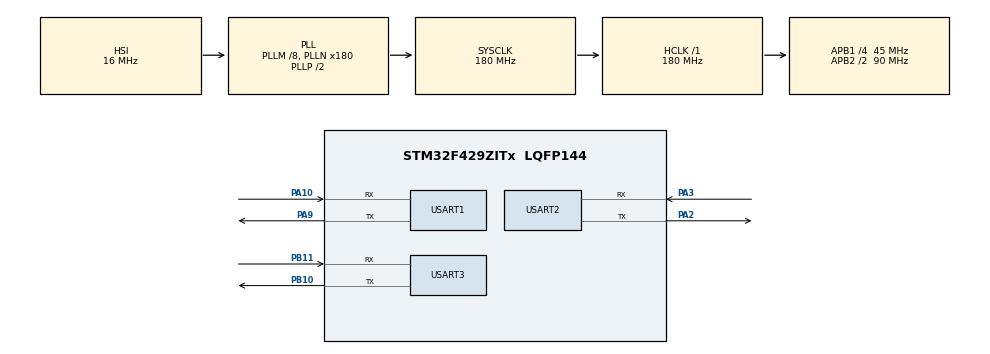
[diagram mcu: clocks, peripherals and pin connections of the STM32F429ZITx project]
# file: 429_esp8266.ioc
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Dma.Request0=USART2_RX
Dma.Request1=USART2_TX
Dma.Request2=USART3_RX
Dma.USART2_RX.0.Direction=DMA_PERIPH_TO_MEMORY
Dma.USART2_RX.0.FIFOMode=DMA_FIFOMODE_DISABLE
Dma.USART2_RX.0.Instance=DMA1_Stream5
Dma.USART2_RX.0.MemDataAlignment=DMA_MDATAALIGN_BYTE
Dma.USART2_RX.0.MemInc=DMA_MINC_ENABLE
Dma.USART2_RX.0.Mode=DMA_NORMAL
Dma.USART2_RX.0.PeriphDataAlignment=DMA_PDATAALIGN_BYTE
Dma.USART2_RX.0.PeriphInc=DMA_PINC_DISABLE
Dma.USART2_RX.0.Priority=DMA_PRIORITY_LOW
Dma.USART2_TX.1.Direction=DMA_MEMORY_TO_PERIPH
Dma.USART2_TX.1.FIFOMode=DMA_FIFOMODE_DISABLE
Dma.USART2_TX.1.Instance=DMA1_Stream6
Dma.USART2_TX.1.MemDataAlignment=DMA_MDATAALIGN_BYTE
Dma.USART2_TX.1.MemInc=DMA_MINC_ENABLE
Dma.USART2_TX.1.Mode=DMA_NORMAL
Dma.USART2_TX.1.PeriphDataAlignment=DMA_PDATAALIGN_BYTE
Dma.USART2_TX.1.PeriphInc=DMA_PINC_DISABLE
Dma.USART2_TX.1.Priority=DMA_PRIORITY_LOW
Dma.USART3_RX.2.Direction=DMA_PERIPH_TO_MEMORY
Dma.USART3_RX.2.FIFOMode=DMA_FIFOMODE_DISABLE
Dma.USART3_RX.2.Instance=DMA1_Stream1
Dma.USART3_RX.2.MemDataAlignment=DMA_MDATAALIGN_BYTE
Dma.USART3_RX.2.MemInc=DMA_MINC_ENABLE
Dma.USART3_RX.2.Mode=DMA_CIRCULAR
Dma.USART3_RX.2.PeriphDataAlignment=DMA_PDATAALIGN_BYTE
Dma.USART3_RX.2.PeriphInc=DMA_PINC_DISABLE
Dma.USART3_RX.2.Priority=DMA_PRIORITY_LOW
Mcu.Family=STM32F4
Mcu.Name=STM32F429ZITx
Mcu.Package=LQFP144
NVIC.DMA1_Stream1_IRQn=true\:0\:0\:false\:false\:true\:false\:true\:true
NVIC.DMA1_Stream5_IRQn=true\:0\:0\:false\:false\:true\:false\:true\:true
NVIC.DMA1_Stream6_IRQn=true\:0\:0\:false\:false\:true\:false\:true\:true
NVIC.PriorityGroup=NVIC_PRIORITYGROUP_0
NVIC.USART1_IRQn=true\:0\:0\:false\:false\:true\:true\:true\:true
NVIC.USART2_IRQn=true\:0\:0\:false\:false\:true\:true\:true\:true
NVIC.USART3_IRQn=true\:0\:0\:false\:false\:true\:true\:true\:true
PA10.Mode=Asynchronous
PA10.Signal=USART1_RX
PA2.Mode=Asynchronous
PA2.Signal=USART2_TX
PA3.Mode=Asynchronous
PA3.Signal=USART2_RX
PA9.Mode=Asynchronous
PA9.Signal=USART1_TX
PB10.Mode=Asynchronous
PB10.Signal=USART3_TX
PB11.Mode=Asynchronous
PB11.Signal=USART3_RX
PH0/OSC_IN.Mode=HSE-External-Oscillator
PH0/OSC_IN.Signal=RCC_OSC_IN
PH1/OSC_OUT.Mode=HSE-External-Oscillator
PH1/OSC_OUT.Signal=RCC_OSC_OUT
ProjectManager.HeapSize=0x200
ProjectManager.StackSize=0x400
ProjectManager.TargetToolchain=STM32CubeIDE
RCC.48MHZClocksFreq_Value=51428571.428571425
RCC.AHBFreq_Value=180000000
RCC.APB1CLKDivider=RCC_HCLK_DIV4
RCC.APB1Freq_Value=45000000
RCC.APB1TimFreq_Value=90000000
RCC.APB2CLKDivider=RCC_HCLK_DIV2
RCC.APB2Freq_Value=90000000
RCC.APB2TimFreq_Value=180000000
RCC.CortexFreq_Value=180000000
RCC.HCLKFreq_Value=180000000
RCC.HSE_VALUE=8000000
RCC.HSI_VALUE=16000000
RCC.LSE_VALUE=32768
RCC.PLLM=8
RCC.PLLN=180
RCC.PLLQ=7
RCC.SYSCLKFreq_VALUE=180000000
RCC.SYSCLKSource=RCC_SYSCLKSOURCE_PLLCLK
RCC.VCOOutputFreq_Value=360000000
USART1.VirtualMode=VM_ASYNC
USART2.VirtualMode=VM_ASYNC
USART3.VirtualMode=VM_ASYNC
board=STM32F429I-DISC1

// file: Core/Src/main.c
/* USER CODE BEGIN Header */
/**
 ******************************************************************************
 * @file           : main.c
 * @brief          : Main program body
 ******************************************************************************
 * @attention
 *
 * Copyright (c) 2025 STMicroelectronics.
 * All rights reserved.
 *
 * This software is licensed under terms that can be found in the LICENSE file
 * in the root directory of this software component.
 * If no LICENSE file comes with this software, it is provided AS-IS.
 *
 ******************************************************************************
 */
/* USER CODE END Header */
#include "main.h"

UART_HandleTypeDef huart1;
UART_HandleTypeDef huart2;
UART_HandleTypeDef huart3;
DMA_HandleTypeDef hdma_usart2_rx;
DMA_HandleTypeDef hdma_usart2_tx;
DMA_HandleTypeDef hdma_usart3_rx;

/* USER CODE BEGIN PV */
uint8_t uart2_tx_buffer[] = "AT+RST\r\n";
uint8_t uart2_rx_buffer[512];
/* USER CODE END PV */

void SystemClock_Config(void);
static void MX_GPIO_Init(void);
static void MX_DMA_Init(void);
static void MX_USART1_UART_Init(void);
static void MX_USART2_UART_Init(void);
static void MX_USART3_UART_Init(void);

/* USER CODE BEGIN 0 */
int _write(int fd, char *ptr, int len) {
	HAL_StatusTypeDef hstatus;

	if (fd == 1 || fd == 2) {
		hstatus = HAL_UART_Transmit(&huart1, (uint8_t*) ptr, len,
		HAL_MAX_DELAY);
		if (hstatus == HAL_OK)
			return len;
		else
			return -1;
	}
	return -1;
}
/* USER CODE END 0 */

int main(void)
{

  /* MCU Configuration--------------------------------------------------------*/

  /* Reset of all peripherals, Initializes the Flash interface and the Systick. */
  HAL_Init();

  /* Configure the system clock */
  SystemClock_Config();

  /* Initialize all configured peripherals */
  MX_GPIO_Init();
  MX_DMA_Init();
  MX_USART1_UART_Init();
  MX_USART2_UART_Init();
  MX_USART3_UART_Init();
  /* USER CODE BEGIN 2 */
	HAL_UART_Receive_IT(&huart3, uart2_rx_buffer, 1);
	HAL_UART_Transmit(&huart3, uart2_tx_buffer, sizeof(uart2_tx_buffer), 5000);

  /* USER CODE END 2 */

  /* Infinite loop */
	while (1) {

	}
}

void SystemClock_Config(void)
{
  RCC_OscInitTypeDef RCC_OscInitStruct = {0};
  RCC_ClkInitTypeDef RCC_ClkInitStruct = {0};

  /** Configure the main internal regulator output voltage
  */
  __HAL_RCC_PWR_CLK_ENABLE();
  __HAL_PWR_VOLTAGESCALING_CONFIG(PWR_REGULATOR_VOLTAGE_SCALE1);

  /** Initializes the RCC Oscillators according to the specified parameters
  * in the RCC_OscInitTypeDef structure.
  */
  RCC_OscInitStruct.OscillatorType = RCC_OSCILLATORTYPE_HSI;
  RCC_OscInitStruct.HSIState = RCC_HSI_ON;
  RCC_OscInitStruct.HSICalibrationValue = RCC_HSICALIBRATION_DEFAULT;
  RCC_OscInitStruct.PLL.PLLState = RCC_PLL_ON;
  RCC_OscInitStruct.PLL.PLLSource = RCC_PLLSOURCE_HSI;
  RCC_OscInitStruct.PLL.PLLM = 8;
  RCC_OscInitStruct.PLL.PLLN = 180;
  RCC_OscInitStruct.PLL.PLLP = RCC_PLLP_DIV2;
  RCC_OscInitStruct.PLL.PLLQ = 7;
  if (HAL_RCC_OscConfig(&RCC_OscInitStruct) != HAL_OK)
  {
    Error_Handler();
  }

  /** Activate the Over-Drive mode
  */
  if (HAL_PWREx_EnableOverDrive() != HAL_OK)
  {
    Error_Handler();
  }

  /** Initializes the CPU, AHB and APB buses clocks
  */
  RCC_ClkInitStruct.ClockType = RCC_CLOCKTYPE_HCLK|RCC_CLOCKTYPE_SYSCLK
                              |RCC_CLOCKTYPE_PCLK1|RCC_CLOCKTYPE_PCLK2;
  RCC_ClkInitStruct.SYSCLKSource = RCC_SYSCLKSOURCE_PLLCLK;
  RCC_ClkInitStruct.AHBCLKDivider = RCC_SYSCLK_DIV1;
  RCC_ClkInitStruct.APB1CLKDivider = RCC_HCLK_DIV4;
  RCC_ClkInitStruct.APB2CLKDivider = RCC_HCLK_DIV2;

  if (HAL_RCC_ClockConfig(&RCC_ClkInitStruct, FLASH_LATENCY_5) != HAL_OK)
  {
    Error_Handler();
  }
}

static void MX_USART1_UART_Init(void)
{

  huart1.Instance = USART1;
  huart1.Init.BaudRate = 115200;
  huart1.Init.WordLength = UART_WORDLENGTH_8B;
  huart1.Init.StopBits = UART_STOPBITS_1;
  huart1.Init.Parity = UART_PARITY_NONE;
  huart1.Init.Mode = UART_MODE_TX_RX;
  huart1.Init.HwFlowCtl = UART_HWCONTROL_NONE;
  huart1.Init.OverSampling = UART_OVERSAMPLING_16;
  if (HAL_UART_Init(&huart1) != HAL_OK)
  {
    Error_Handler();
  }

}

static void MX_USART2_UART_Init(void)
{

  huart2.Instance = USART2;
  huart2.Init.BaudRate = 115200;
  huart2.Init.WordLength = UART_WORDLENGTH_8B;
  huart2.Init.StopBits = UART_STOPBITS_1;
  huart2.Init.Parity = UART_PARITY_NONE;
  huart2.Init.Mode = UART_MODE_TX_RX;
  huart2.Init.HwFlowCtl = UART_HWCONTROL_NONE;
  huart2.Init.OverSampling = UART_OVERSAMPLING_16;
  if (HAL_UART_Init(&huart2) != HAL_OK)
  {
    Error_Handler();
  }

}

static void MX_USART3_UART_Init(void)
{

  huart3.Instance = USART3;
  huart3.Init.BaudRate = 115200;
  huart3.Init.WordLength = UART_WORDLENGTH_8B;
  huart3.Init.StopBits = UART_STOPBITS_1;
  huart3.Init.Parity = UART_PARITY_NONE;
  huart3.Init.Mode = UART_MODE_TX_RX;
  huart3.Init.HwFlowCtl = UART_HWCONTROL_NONE;
  huart3.Init.OverSampling = UART_OVERSAMPLING_16;
  if (HAL_UART_Init(&huart3) != HAL_OK)
  {
    Error_Handler();
  }

}

static void MX_DMA_Init(void)
{

  /* DMA controller clock enable */
  __HAL_RCC_DMA1_CLK_ENABLE();

  /* DMA interrupt init */
  /* DMA1_Stream1_IRQn interrupt configuration */
  HAL_NVIC_SetPriority(DMA1_Stream1_IRQn, 0, 0);
  HAL_NVIC_EnableIRQ(DMA1_Stream1_IRQn);
  /* DMA1_Stream5_IRQn interrupt configuration */
  HAL_NVIC_SetPriority(DMA1_Stream5_IRQn, 0, 0);
  HAL_NVIC_EnableIRQ(DMA1_Stream5_IRQn);
  /* DMA1_Stream6_IRQn interrupt configuration */
  HAL_NVIC_SetPriority(DMA1_Stream6_IRQn, 0, 0);
  HAL_NVIC_EnableIRQ(DMA1_Stream6_IRQn);

}

static void MX_GPIO_Init(void)
{

  /* GPIO Ports Clock Enable */
  __HAL_RCC_GPIOH_CLK_ENABLE();
  __HAL_RCC_GPIOA_CLK_ENABLE();
  __HAL_RCC_GPIOB_CLK_ENABLE();

}

/* USER CODE BEGIN 4 */
void HAL_UART_RxCpltCallback(UART_HandleTypeDef *huart) {
	if (huart->Instance == USART3) {
		printf("%s", uart2_rx_buffer);
	}
	HAL_UART_Receive_IT(&huart3, uart2_rx_buffer, 1);
}
/* USER CODE END 4 */

void Error_Handler(void)
{
	__disable_irq();
	while (1) {
	}
}
